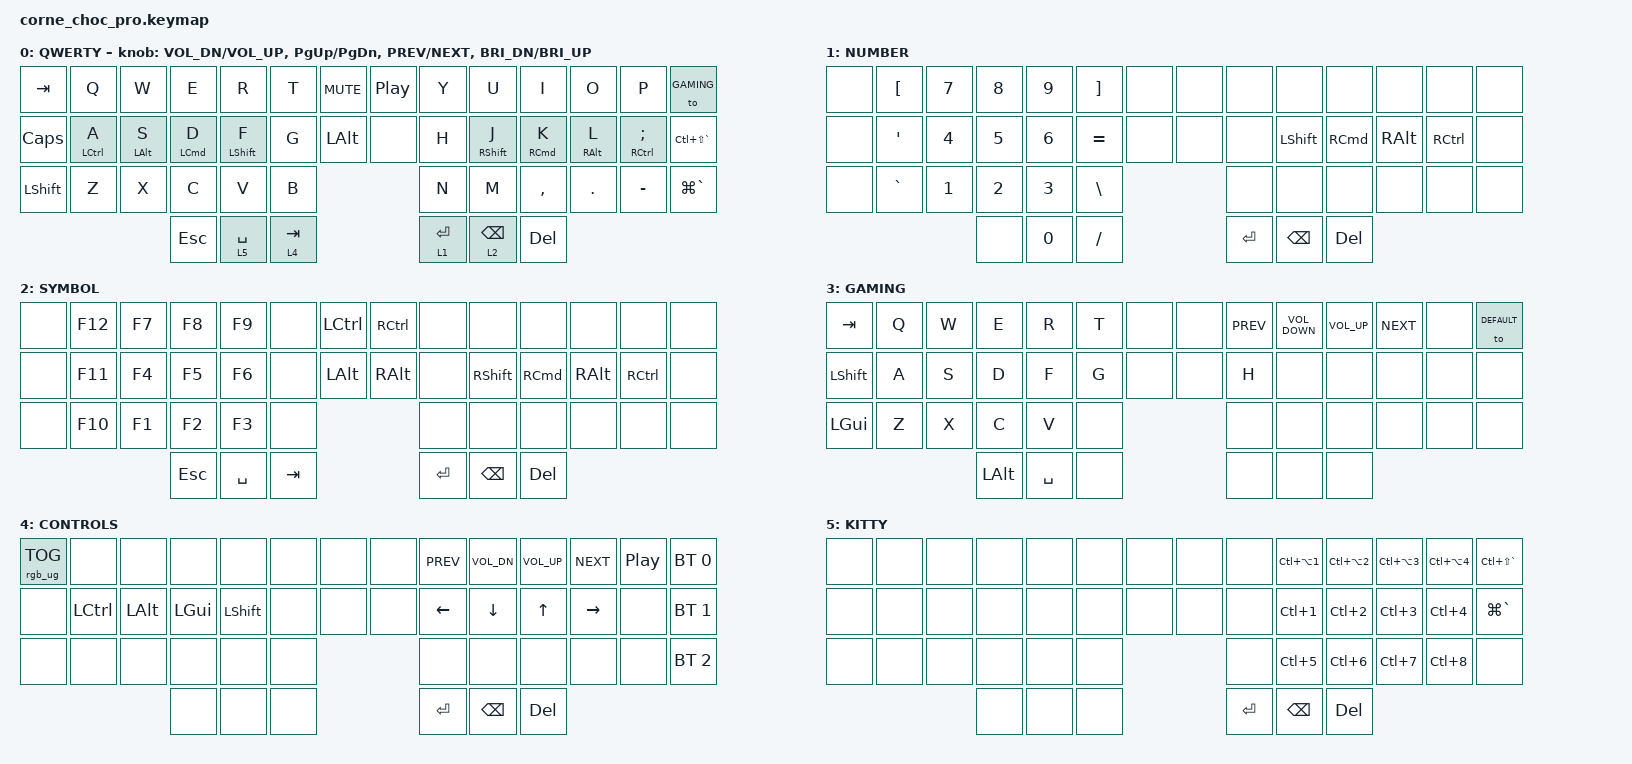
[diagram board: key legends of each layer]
/*
 * Copyright (c) 2020 The ZMK Contributors
 *
 * SPDX-License-Identifier: MIT
 */

#include <behaviors.dtsi>
#include <dt-bindings/zmk/bt.h>
#include <dt-bindings/zmk/keys.h>
#include <dt-bindings/zmk/rgb.h>

#define DEFAULT 0
#define NUMBER 1
#define SYMBOL 2
#define GAMING 3
#define CONTROLS 4
#define KITTY 5

&mt {
    flavor = "balanced";
    tapping-term-ms = <180>;
    quick-tap-ms = <150>;
    require-prior-idle-ms = <125>;
};

/ {
    chosen { zmk,physical-layout = &default_layout; };
};

/ {
    keymap {
        compatible = "zmk,keymap";

        default_layer {
            display-name = "QWERTY";

            // --------------------------------------------------------------------------------
            // |  TAB |  Q  |  W  |  E  |  R  |  T  |  MUTE |  PP   |  Y  |  U   |  I  |  O  |  P  | GAME |
            // | CAPS | A/CTL | S/ALT | D/CMD | F/SFT |  G  |  LALT |      |  H  | J/SFT | K/CMD | L/ALT | ;/CTL | KWin |
            // | SHFT |  Z  |  X  |  C  |  V  |  B  |               |  N  |  M   |  ,  |  .  |  -  | OSWin |
            //                    | ESC/L5 | SPC | TAB/L4 |        | ENT/L1 | BSPC/L2 | DEL |

            bindings = <
&kp TAB    &kp Q        &kp W       &kp E               &kp R         &kp T      &kp C_MUTE  &kp C_PP  &kp Y      &kp U        &kp I                &kp O            &kp P                   &to GAMING
&kp CAPS   &mt LCTRL A  &mt LALT S  &mt LEFT_COMMAND D  &mt LSHIFT F  &kp G      &kp LALT    &none     &kp H      &mt RSHFT J  &mt RIGHT_COMMAND K  &mt RIGHT_ALT L  &mt RIGHT_CONTROL SEMI  &kp LC(LS(GRAVE))
&kp LSHFT  &kp Z        &kp X       &kp C               &kp V         &kp B                            &kp N      &kp M        &kp COMMA            &kp DOT          &kp MINUS               &kp LG(GRAVE)
                                    &kp ESCAPE          &lt 5 SPACE   &lt 4 TAB                        &lt 1 RET  &lt 2 BSPC   &kp DEL
            >;

            sensor-bindings = <&inc_dec_kp C_VOL_DN C_VOL_UP &inc_dec_kp PG_UP PG_DN &inc_dec_kp C_PREV C_NEXT &inc_dec_kp C_BRI_DN C_BRI_UP>;
        };

        Number {
            display-name = "NUMBER";

            // -----------------------------------------------------------------------------------------
            // |      |  [  |  7  |  8  |  9  |  ]   |        |       |      |      |      |      |      |      |
            // |      |  ;  |  4  |  5  |  6  |  =   |        |       |      | SHFT | CMD  | ALT  | CTRL |      |
            // |      |  `  |  1  |  2  |  3  |  \   |        |       |      |      |      |      |      |      |
            //                    |     |  0  |  /    |        | ENT   | BSPC |     |

            bindings = <
&none  &kp LBKT          &kp N7  &kp N8  &kp N9  &kp RBKT   &none  &none  &none    &none       &none              &none          &none              &none
&none  &kp SINGLE_QUOTE  &kp N4  &kp N5  &kp N6  &kp EQUAL  &none  &none  &none    &kp LSHIFT  &kp RIGHT_COMMAND  &kp RIGHT_ALT  &kp RIGHT_CONTROL  &none
&none  &kp GRAVE         &kp N1  &kp N2  &kp N3  &kp BSLH                 &none    &none       &none              &none          &none              &none
                                 &none   &kp N0  &kp SLASH                &kp RET  &kp BSPC    &kp DELETE
            >;
        };

        Symbol {
            display-name = "SYMBOL";

            // -----------------------------------------------------------------------------------------
            // |      | F12 | F7  | F8  | F9  |      | LCTRL | RCTRL |      |      |      |      |      |      |
            // |      | F11 | F4  | F5  | F6  |      |  LALT | RALT  |      | SHFT | CMD  | ALT  | CTRL |      |
            // |      | F10 | F1  | F2  | F3  |      |               |      |      |      |      |      |      |
            //                    | ESC | SPC | TAB |               | ENT |     | DEL |

            bindings = <
&none  &kp F12  &kp F7  &kp F8   &kp F9     &none    &kp LCTRL  &kp RCTRL  &none    &none          &none              &none          &none              &none
&none  &kp F11  &kp F4  &kp F5   &kp F6     &none    &kp LALT   &kp RALT   &none    &kp RSHFT      &kp RIGHT_COMMAND  &kp RIGHT_ALT  &kp RIGHT_CONTROL  &none
&none  &kp F10  &kp F1  &kp F2   &kp F3     &none                          &none    &none          &none              &none          &none              &none
                        &kp ESC  &kp SPACE  &kp TAB                        &kp RET  &kp BACKSPACE  &kp DEL
            >;
        };

        Gaming {
            display-name = "GAMING";
            bindings = <
&kp TAB         &kp Q  &kp W  &kp E         &kp R      &kp T  &none  &none  &kp C_PREV  &kp C_VOLUME_DOWN  &kp C_VOLUME_UP  &kp C_NEXT  &none  &to DEFAULT
&kp LEFT_SHIFT  &kp A  &kp S  &kp D         &kp F      &kp G  &none  &none  &kp H       &none              &none            &none       &none  &none
&kp LEFT_GUI    &kp Z  &kp X  &kp C         &kp V      &none                &none       &none              &none            &none       &none  &none
                              &kp LEFT_ALT  &kp SPACE  &none                &none       &none              &none
            >;
        };

        Controls {
            display-name = "CONTROLS";

            // -----------------------------------------------------------------------------------------
            // | RGB  |     |     |     |     |     |       |       | PREV | VOLD | VOLU | NEXT | PP  | BT1  |
            // |      |     |     |     |     |     |       |       |      | LFT  | DWN  |  UP  | RGT | BT2  |
            // |      |     |     |     |     |     |               |      |      |      |      |     | BT3  |
            //                    |     |     |     |               |     |     |     |

            bindings = <
&rgb_ug RGB_TOG  &none             &none         &none         &none           &none  &none  &none  &kp C_PREV  &kp C_VOL_DN   &kp C_VOL_UP  &kp C_NEXT  &kp C_PP  &bt BT_SEL 0
&none            &kp LEFT_CONTROL  &kp LEFT_ALT  &kp LEFT_GUI  &kp LEFT_SHIFT  &none  &none  &none  &kp LEFT    &kp DOWN       &kp UP_ARROW  &kp RIGHT   &none     &bt BT_SEL 1
&none            &none             &none         &none         &none           &none                &none       &none          &none         &none       &none     &bt BT_SEL 2
                                                 &none         &none           &none                &kp ENTER   &kp BACKSPACE  &kp DELETE
            >;
        };

        KittyTabs {
            display-name = "KITTY";

            // -----------------------------------------------------------------------------------------
            // |      |     |     |     |     |     |       |       |      | Tab1 | Tab2 | Tab3 | Tab4 | KWin |
            // |      |     |     |     |     |     |       |       |      | Ctl1 | Ctl2 | Ctl3 | Ctl4 | OSWin |
            // |      |     |     |     |     |     |               |      | Ctl5 | Ctl6 | Ctl7 | Ctl8 |      |
            //                    |     |     |     |               |     |     |     |

            bindings = <
&none  &none  &none  &none  &none  &none  &none  &none  &none      &kp LC(LA(N1))  &kp LC(LA(N2))  &kp LC(LA(N3))  &kp LC(LA(N4))  &kp LC(LS(GRAVE))
&none  &none  &none  &none  &none  &none  &none  &none  &none      &kp LC(N1)      &kp LC(N2)      &kp LC(N3)      &kp LC(N4)      &kp LG(GRAVE)
&none  &none  &none  &none  &none  &none                &none      &kp LC(N5)      &kp LC(N6)      &kp LC(N7)      &kp LC(N8)      &none
                     &none  &none  &none                &kp ENTER  &kp BACKSPACE   &kp DELETE
            >;
        };
    };
};
